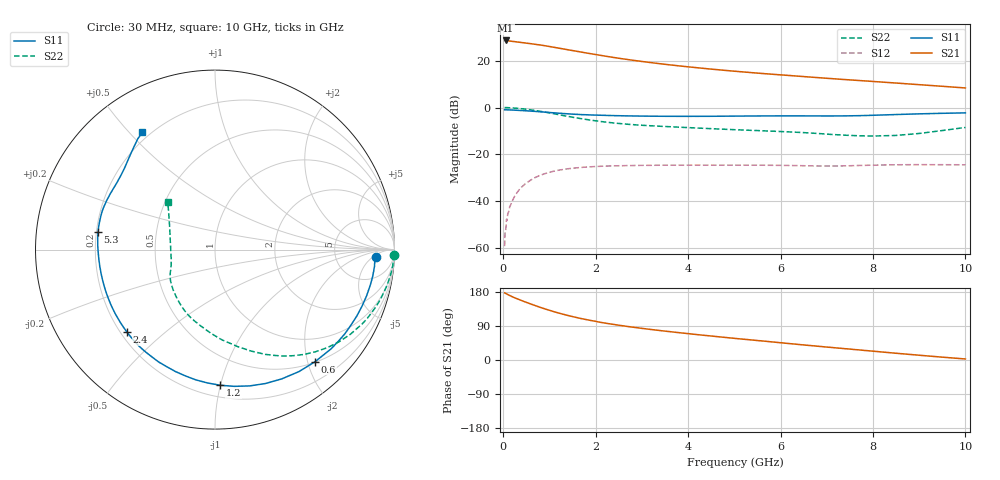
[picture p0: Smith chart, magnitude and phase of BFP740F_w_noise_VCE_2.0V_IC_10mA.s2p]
! Infineon Technologies  Discrete & RF Semiconductors
! BFP740F
! VCE =  2.0 V,  IC =  10 mA
! Common Emitter S-Parameters:  Oct 2012
# GHz  S  MA  R  50
!  f  S11  S21  S12  S22
! GHz  MAG  ANG  MAG  ANG  MAG  ANG  MAG  ANG
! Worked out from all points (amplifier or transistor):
!   99 points, 30 MHz to 10 GHz, reference 50 ohm
!   highest |S21| = 28.6 dB at 50 MHz (marker M1)
!   |S21| within 3 dB of that: start of sweep to 1.122 GHz
!   unconditionally stable (mu >= 1): 6.662 GHz to end of sweep
!   at 350 MHz: K = 0.08, MSG = 31.4 dB, |S12| = -35.0 dB
!   at 3.5 GHz: K = 0.49, MSG = 21.5 dB, |S12| = -24.6 dB
!   at 10 GHz: K = 1.28, MAG = 13.2 dB, |S12| = -24.4 dB
!   lowest NFmin = 0.44 dB at 450 MHz
!   S11 on the Smith chart (normalised r, x): 30 MHz: 15, -6; 600 MHz: 0.51, -2.13; 1.2 GHz: 0.28, -1.00; 2.4 GHz: 0.23, -0.38; 5.3 GHz: 0.21, +0.07; 10 GHz: 0.17, +0.55
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0.03  0.8953 -2.6  26.79 177.2  0.0011 80.4  0.9953 -1.6
0.05  0.8933 -4.2  26.97 176.0  0.0023 90.9  0.9964 -2.8
0.15  0.8875 -12.9  26.23 169.6  0.0079 82.9  0.9867 -8.6
0.25  0.8776 -21.1  25.46 164.1  0.0129 79.1  0.9712 -14.0
0.45  0.856 -36.8  24.03 154.4  0.0223 69.6  0.9308 -24.4
0.6  0.8373 -48.2  23.01 147.6  0.0285 63.7  0.8903 -31.9
0.8  0.8107 -62.7  21.61 139.0  0.0358 56.2  0.8308 -41.1
0.9  0.7972 -69.4  20.83 135.0  0.0388 52.6  0.7982 -45.5
1.1  0.7695 -81.9  19.27 127.4  0.0439 46.3  0.7336 -53.7
1.2  0.7566 -87.7  18.5 123.9  0.046 43.4  0.7042 -57.4
1.5  0.7224 -103.4  16.41 114.5  0.0506 36.3  0.6204 -67.6
1.7  0.7052 -112.6  15.17 109.0  0.0528 32.4  0.5751 -73.7
2.1  0.6847 -128.0  13.02 99.5  0.0557 25.8  0.5051 -85.4
2.4  0.6719 -137.0  11.65 93.7  0.0568 22.1  0.4672 -92.7
2.8  0.6607 -147.3  10.22 86.7  0.0578 18.3  0.4316 -100.9
3.4  0.651 -159.7  8.582 77.6  0.0587 14.0  0.3979 -110.9
4.3  0.6492 -174.6  6.899 65.7  0.0591 9.5  0.3611 -122.3
5.1  0.657 174.2  5.847 56.0  0.059 6.7  0.3336 -131.9
5.3  0.6585 171.5  5.633 53.7  0.0589 6.0  0.3275 -134.4
6.7  0.6612 153.4  4.42 37.6  0.0568 3.4  0.2836 -151.6
8.5  0.7083 131.8  3.329 17.8  0.06 3.5  0.2536 169.2
10  0.7688 121.7  2.613 2.7  0.06 0.9  0.3757 134.5
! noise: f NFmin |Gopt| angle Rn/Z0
0.45  0.44  0.22  5  0.24
0.9  0.49  0.22  12  0.16
1.5  0.57  0.22  23  0.1
1.9  0.61  0.21  31  0.07
2.4  0.66  0.21  42  0.06
3.5  0.78  0.18  66  0.09
5.5  0.98  0.1  127  0.1
10  1.39  0.38  -118  0.09
